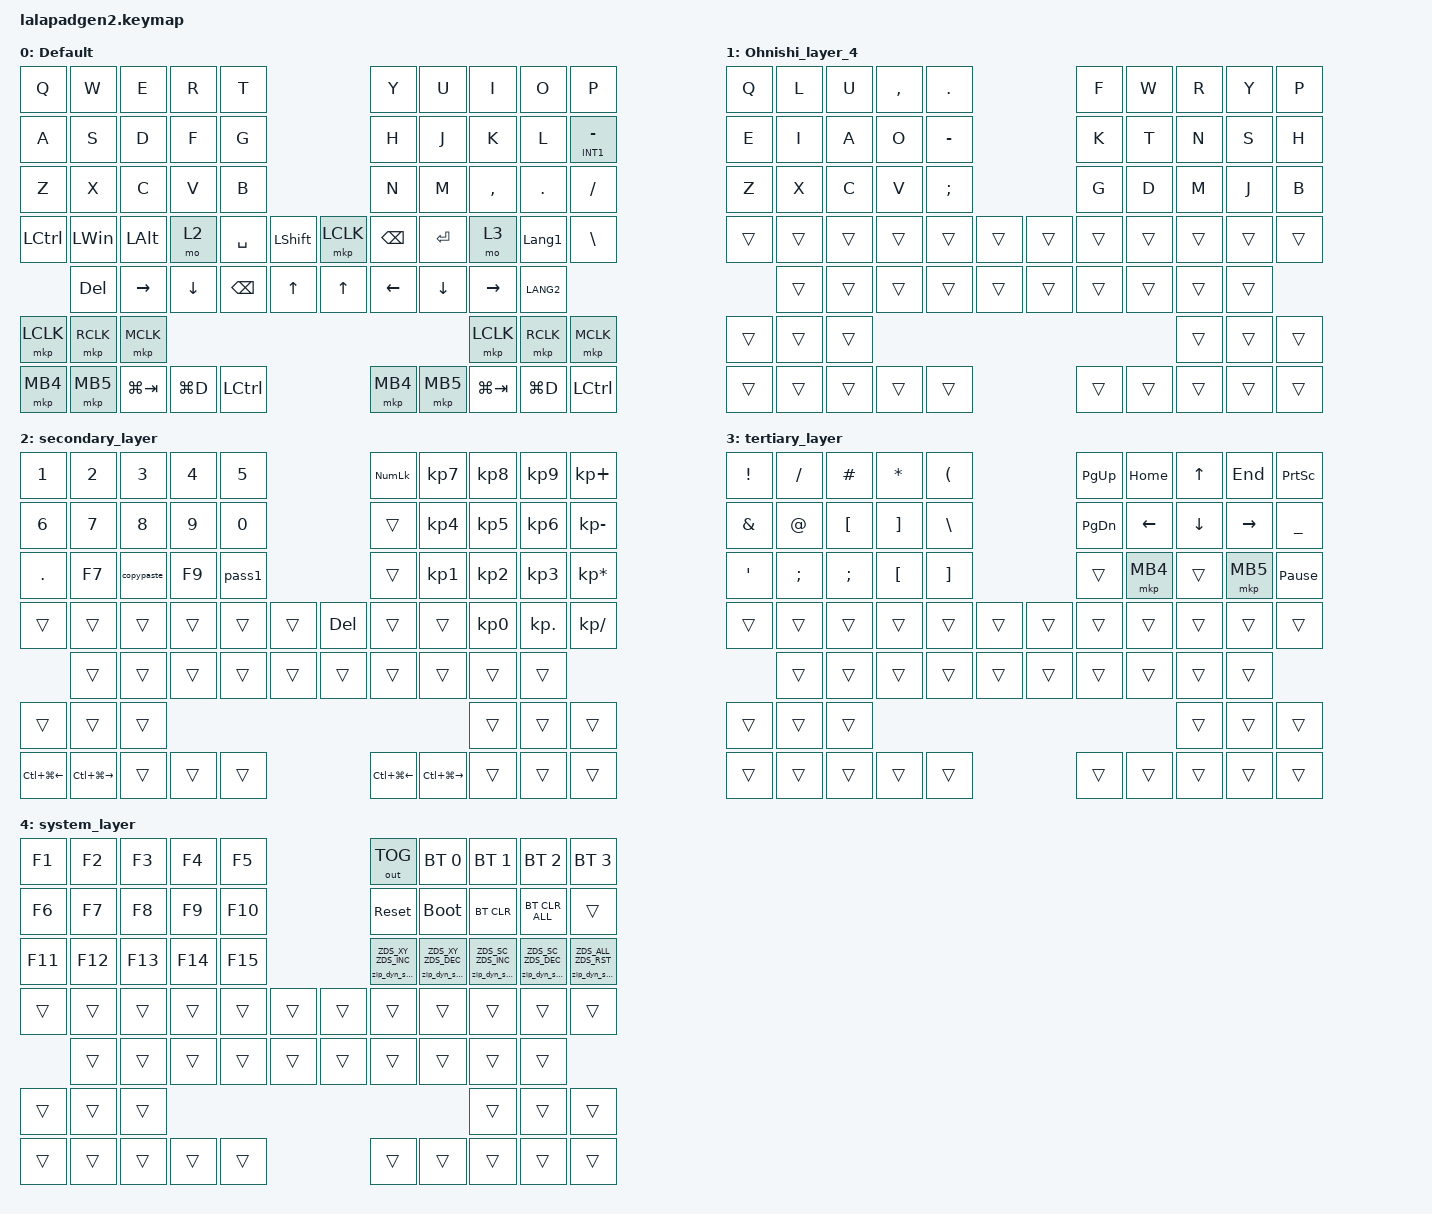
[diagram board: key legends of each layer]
#include <input/processors.dtsi>
#include <dt-bindings/zmk/zip_dynamic_scale.h>
#include <behaviors.dtsi>
#include <dt-bindings/zmk/bt.h>
#include <dt-bindings/zmk/keys.h>
#include <dt-bindings/zmk/outputs.h>
#include <dt-bindings/zmk/pointing.h>

#define DEFAULT_LAYER   0
#define SECONDARY_LAYER 1
#define TERTIARY_LAYER  2
#define SYSTEM_LAYER    3

&mt { quick-tap-ms = <200>; };

&lt { quick-tap-ms = <200>; };

/ {
    behaviors {
        zip_dyn_scale: zip_dyn_scale {
            compatible = "zmk,behavior-zip-dynamic-scale";
            #binding-cells = <2>;
        };

        zip_dyn_scale_set: zip_dyn_scale_set {
            compatible = "zmk,behavior-zip-dynamic-scale-set";
            #binding-cells = <2>;
        };

        mt2: mod_tap2 {
            compatible = "zmk,behavior-hold-tap";
            #binding-cells = <2>;
            flavor = "tap-preferred";
            tapping-term-ms = <200>;
            quick-tap-ms = <200>;
            require-prior-idle-ms = <125>;
            bindings = <&kp>, <&kp>;
        };

        tap_dance_layer_1and2: tap_dance_layer_1and2 {
            compatible = "zmk,behavior-tap-dance";
            label = "td_mo12";
            #binding-cells = <0>;
            bindings = <&mo 2>, <&mo 3>;
        };
    };

    combos {
        compatible = "zmk,combos";

        CONBO_ESC {
            bindings = <&kp ESCAPE>;
            key-positions = <0 1>;
        };

        COMBO_TAB {
            bindings = <&kp TAB>;
            key-positions = <10 11>;
        };

        Onishi {
            bindings = <&to 1>;
            key-positions = <39 40>;
        };

        defaultkey {
            bindings = <&to 0>;
            key-positions = <7 8>;
        };

        toArchive {
            bindings = <&toArchive>;
            key-positions = <20 30>;
        };

        login {
            bindings = <&login>;
            key-positions = <30 32>;
        };
    };

    macros {
        toArchive: toArchive {
            compatible = "zmk,behavior-macro";
            #binding-cells = <0>;
            bindings = <&kp LC(LS(NUMBER_1))>;
            label = "TOARCHIVE";
        };

        login: login {
            compatible = "zmk,behavior-macro";
            #binding-cells = <0>;
            bindings = <&kp LC(LA(DELETE))>;
            label = "LOGIN";
        };

        pass1: pass1 {
            compatible = "zmk,behavior-macro";
            #binding-cells = <0>;
            bindings = <&none &kp LS(U) &kp S &kp E &kp R &kp M &kp W &kp T &kp N9 &kp N2 &kp LS(U) &kp S &kp E &kp R &kp M &kp W &kp T &kp N9 &kp N2>;
            label = "PASS1";
        };

        pass2: pass2 {
            compatible = "zmk,behavior-macro";
            #binding-cells = <0>;
            bindings = <&none &kp LS(P) &kp O &kp W &kp E &kp R &kp M &kp W &kp T &kp N9 &kp N2 &kp LS(P) &kp O &kp W &kp E &kp R &kp M &kp W &kp T &kp N9 &kp N2>;
            label = "PASS2";
        };

        copypaste: copypaste {
            compatible = "zmk,behavior-macro";
            #binding-cells = <0>;
            bindings =
                <&kp LC(C)>,
                <&macro_wait_time 10>,
                <&kp LG(R)>,
                <&macro_wait_time 10>,
                <&kp LC(V)>,
                <&macro_wait_time 5>,
                <&kp ENTER>;

            label = "COPYPASTE";
        };
    };

    keymap {
        compatible = "zmk,keymap";

        DEFAULT_LAYER {
            display-name = "Default";
            bindings = <
&kp Q      &kp W      &kp E         &kp R      &kp T                                     &kp Y          &kp U      &kp I        &kp O           &kp P
&kp A      &kp S      &kp D         &kp F      &kp G                                     &kp H          &kp J      &kp K        &kp L           &mt2 INT1 MINUS
&kp Z      &kp X      &kp C         &kp V      &kp B                                     &kp N          &kp M      &kp COMMA    &kp PERIOD      &kp SLASH
&kp LCTRL  &kp LWIN   &kp LEFT_ALT  &mo 2      &kp SPACE      &kp LEFT_SHIFT  &mkp LCLK  &kp BACKSPACE  &kp ENTER  &mo 3        &kp LANGUAGE_1  &kp BACKSLASH
           &kp DEL    &kp RIGHT     &kp DOWN   &kp BACKSPACE  &kp UP          &kp UP     &kp LEFT       &kp DOWN   &kp RIGHT    &kp LANG2
&mkp LCLK  &mkp RCLK  &mkp MCLK                                                                                    &mkp LCLK    &mkp RCLK       &mkp MCLK
&mkp MB4   &mkp MB5   &kp LG(TAB)   &kp LG(D)  &kp LCTRL                                 &mkp MB4       &mkp MB5   &kp LG(TAB)  &kp LG(D)       &kp LCTRL
            >;
        };

        Ohnishi_layer_4 {
            bindings = <
&kp Q   &kp L   &kp U   &kp COMMA  &kp DOT                    &kp F   &kp W   &kp R   &kp Y   &kp P
&kp E   &kp I   &kp A   &kp O      &kp MINUS                  &kp K   &kp T   &kp N   &kp S   &kp H
&kp Z   &kp X   &kp C   &kp V      &kp SEMI                   &kp G   &kp D   &kp M   &kp J   &kp B
&trans  &trans  &trans  &trans     &trans     &trans  &trans  &trans  &trans  &trans  &trans  &trans
        &trans  &trans  &trans     &trans     &trans  &trans  &trans  &trans  &trans  &trans
&trans  &trans  &trans                                                        &trans  &trans  &trans
&trans  &trans  &trans  &trans     &trans                     &trans  &trans  &trans  &trans  &trans
            >;
        };

        SECONDARY_LAYER {
            display-name = "secondary_layer";
            bindings = <
&kp NUMBER_1      &kp NUMBER_2       &kp NUMBER_3  &kp NUMBER_4  &kp N5                   &kp KP_NUMLOCK    &kp KP_NUMBER_7    &kp KP_NUMBER_8  &kp KP_NUMBER_9  &kp KP_PLUS
&kp NUMBER_6      &kp N7             &kp N8        &kp N9        &kp N0                   &trans            &kp KP_NUMBER_4    &kp KP_NUMBER_5  &kp KP_NUMBER_6  &kp KP_MINUS
&kp PERIOD        &kp F7             &copypaste    &kp F9        &pass1                   &trans            &kp KP_NUMBER_1    &kp KP_NUMBER_2  &kp KP_NUMBER_3  &kp KP_ASTERISK
&trans            &trans             &trans        &trans        &trans  &trans  &kp DEL  &trans            &trans             &kp KP_NUMBER_0  &kp KP_DOT       &kp KP_DIVIDE
                  &trans             &trans        &trans        &trans  &trans  &trans   &trans            &trans             &trans           &trans
&trans            &trans             &trans                                                                                    &trans           &trans           &trans
&kp LC(LG(LEFT))  &kp LC(LG(RIGHT))  &trans        &trans        &trans                   &kp LC(LG(LEFT))  &kp LC(LG(RIGHT))  &trans           &trans           &trans
            >;
        };

        TERTIARY_LAYER {
            display-name = "tertiary_layer";
            bindings = <
&kp EXCLAMATION  &kp SLASH  &kp HASH          &kp ASTERISK       &kp LEFT_PARENTHESIS                  &kp PAGE_UP    &kp HOME  &kp UP_ARROW    &kp END    &kp PRINTSCREEN
&kp AMPERSAND    &kp AT     &kp LEFT_BRACKET  &kp RIGHT_BRACKET  &kp BACKSLASH                         &kp PAGE_DOWN  &kp LEFT  &kp DOWN_ARROW  &kp RIGHT  &kp UNDER
&kp SQT          &kp SEMI   &kp SEMI          &kp LEFT_BRACKET   &kp RIGHT_BRACKET                     &trans         &mkp MB4  &trans          &mkp MB5   &kp PAUSE_BREAK
&trans           &trans     &trans            &trans             &trans                &trans  &trans  &trans         &trans    &trans          &trans     &trans
                 &trans     &trans            &trans             &trans                &trans  &trans  &trans         &trans    &trans          &trans
&trans           &trans     &trans                                                                                              &trans          &trans     &trans
&trans           &trans     &trans            &trans             &trans                                &trans         &trans    &trans          &trans     &trans
            >;
        };

        SYSTEM_LAYER {
            display-name = "system_layer";
            bindings = <
&kp F1   &kp F2   &kp F3   &kp F4   &kp F5                   &out OUT_TOG                   &bt BT_SEL 0                   &bt BT_SEL 1                   &bt BT_SEL 2                   &bt BT_SEL 3
&kp F6   &kp F7   &kp F8   &kp F9   &kp F10                  &sys_reset                     &bootloader                    &bt BT_CLR                     &bt BT_CLR_ALL                 &trans
&kp F11  &kp F12  &kp F13  &kp F14  &kp F15                  &zip_dyn_scale ZDS_XY ZDS_INC  &zip_dyn_scale ZDS_XY ZDS_DEC  &zip_dyn_scale ZDS_SC ZDS_INC  &zip_dyn_scale ZDS_SC ZDS_DEC  &zip_dyn_scale ZDS_ALL ZDS_RST
&trans   &trans   &trans   &trans   &trans   &trans  &trans  &trans                         &trans                         &trans                         &trans                         &trans
         &trans   &trans   &trans   &trans   &trans  &trans  &trans                         &trans                         &trans                         &trans
&trans   &trans   &trans                                                                                                   &trans                         &trans                         &trans
&trans   &trans   &trans   &trans   &trans                   &trans                         &trans                         &trans                         &trans                         &trans
            >;
        };
    };

    conditional_layers {
        compatible = "zmk,conditional-layers";

        Cond_Syslayer {
            if-layers = <2 3>;
            then-layer = <4>;
        };
    };
};
